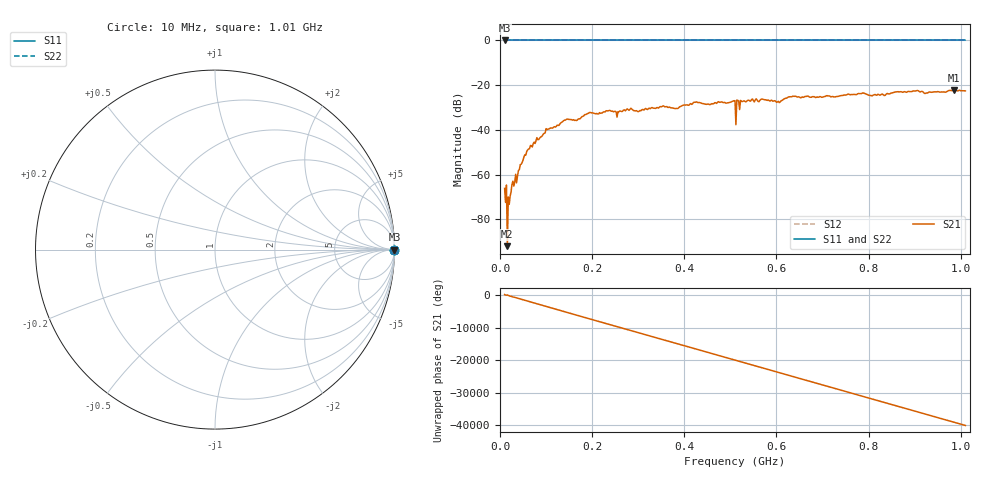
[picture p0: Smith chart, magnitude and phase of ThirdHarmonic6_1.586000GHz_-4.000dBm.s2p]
! 8/16/2025 6:52:54 PM
! C:\ANRITSUVNA\TEMP\TEMP.S2P
! CHANNEL.1
! TR.MEASUREMENT
! RAW.DATA
! RF.CORRECTION.OFF
! AVERAGING.OFF
! IF.BANDWIDTH: 5KHZ
! SWEEPTYPE:  FREQ.SWEEP(Linear)
! Reference Plane Port Info
! PORT:  PORT1  PORT2
! DISTANCE:  0  m  0  m
! TIME:  0  s  0  s
! PHASE.OFFSET:  0  deg.  0  deg.
! LOSS:  0  dB  0  dB
! REF.LOSS:  0  dB  0  dB
! REF.FREQ:  0  Hz  0  Hz
! Power Info
! POWER:  -20  dBm  -20  dBm
! EFF.POWER:  -20  dBm  -20  dBm
! SOURCE.ATTEN:  0  dB  0  dB
! TEST.ATTEN:  0  dB  0  dB
# GHZ S RI R 50.0
! FREQ.GHZ  S11RE  S11IM  S21RE  S21IM  S12RE  S12IM  S22RE  S22IM
!; PortSelection: Port_12
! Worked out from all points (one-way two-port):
!   501 points, 10 MHz to 1.01 GHz, reference 50 ohm
!   highest |S21| = -22.27 dB at 986 MHz (marker M1); lowest = -92.0 dB at 16 MHz (marker M2)
!   lowest |S11| = 0.0 dB at 10 MHz (marker M3)
!   |S11| at or under -10 dB: nowhere
!   |S22| runs from 0.0 to 0.0 dB; largest |S21 - S12| = 1.1
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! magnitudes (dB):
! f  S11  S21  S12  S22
! 10 MHz  0.0  -66.2  0.0  0.0
! 16 MHz  0.0  -92.0  0.0  0.0
! 20 MHz  0.0  -73.3  0.0  0.0
! 22 MHz  0.0  -69.6  0.0  0.0
! 30 MHz  0.0  -65.1  0.0  0.0
! 64 MHz  0.0  -48.5  0.0  0.0
! 104 MHz  0.0  -39.7  0.0  0.0
! 142 MHz  0.0  -35.6  0.0  0.0
! 178 MHz  0.0  -34.1  0.0  0.0
! 196 MHz  0.0  -32.2  0.0  0.0
! 344 MHz  0.0  -30.2  0.0  0.0
! 506 MHz  0.0  -27.1  0.0  0.0
! 510 MHz  0.0  -27.0  0.0  0.0
! 516 MHz  0.0  -26.8  0.0  0.0
! 518 MHz  0.0  -27.1  0.0  0.0
! 526 MHz  0.0  -27.4  0.0  0.0
! 604 MHz  0.0  -27.2  0.0  0.0
! 632 MHz  0.0  -25.2  0.0  0.0
! 678 MHz  0.0  -25.1  0.0  0.0
! 844 MHz  0.0  -23.9  0.0  0.0
! 986 MHz  0.0  -22.3  0.0  0.0
! 1.01 GHz  0.0  -22.6  0.0  0.0
